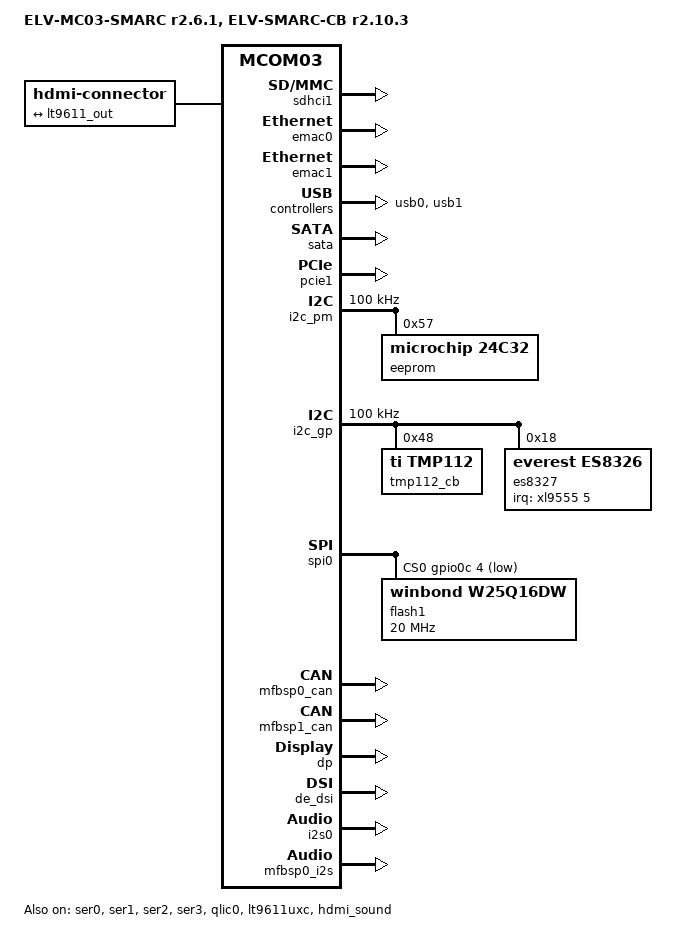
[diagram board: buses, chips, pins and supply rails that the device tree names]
// SPDX-License-Identifier: GPL-2.0+
/*
 * Copyright 2023 RnD Center "ELVEES", JSC
 */

/dts-v1/;

#include <dt-bindings/gpio/gpio.h>

#include "mcom03-elvmc03smarc-r2.6.1.dtsi"

/ {
	model = "ELV-MC03-SMARC r2.6.1, ELV-SMARC-CB r2.10.3";
	compatible = "elvees,elvmc03smarc-r2.6.1-elvsmarccb-r2.10.3",
		     "elvees,elvmc03smarc-elvsmarccb",
		     "elvees,elvsmarccb-r2.10.3",
		     "elvees,elvsmarccb",
		     "elvees,elvmc03smarc-r2.6.1",
		     "elvees,elvmc03smarc",
		     "elvees,mcom03";

	chosen {
		stdout-path = "serial0:115200n8";
	};

	hdmi_connector: hdmi-connector {
		compatible = "hdmi-connector";
		label = "hdmi";

		type = "a";

		port {
			hdmi_connector_in: endpoint {
				remote-endpoint = <&lt9611_out>;
			};
		};
	};

	elvsmarccb_asound {
		compatible = "simple-audio-card";
		simple-audio-card,name = "ELV-SMARC-CB analog audio";
		simple-audio-card,format = "i2s";
		simple-audio-card,bitclock-master = <&dailink1_master>;
		simple-audio-card,frame-master = <&dailink1_master>;
		simple-audio-card,continuous-clock;

		dailink1_master: simple-audio-card,cpu {
				sound-dai = <&mfbsp0_i2s>;
		};

		simple-audio-card,codec {
				sound-dai = <&es8327>;
		};
	};
};

&sdhci1 {
	status = "okay";

	/* Disable 1.8V support
	 * Disable SDR50, SDR104 and DDR50 support
	 */
	sdhci-caps-mask = <0x7 0x4000000>;
	sdhci-caps = <0x0 0x0>;

	/* SDIO_WP is not connected to SMARC connector XS1 */
	disable-wp;
};

&sdhci1_default {
	/* The default clock pad drive strength of 6 mA is insufficient
	 * for some ELV-SMARC-CBs resulting in unstable SDMMC performance
	 */
	clk {
		pins = "SDMMC1_CLK";
		drive-strength = <8>;
	};
};

/* Connects to XP12(RS-232) or XP13(RS-485) chosen by SA8 switch */
&ser0 {
	status = "okay";
};

/* Connects to debug USB Type-C port */
&ser1 {
	status = "okay";
};

/* Connects to XP6 RPi header */
&ser2 {
	status = "okay";
};

/* Connects to XP15 */
&ser3 {
	status = "okay";
};

&emac0 {
	status = "okay";
};

&emac1 {
	status = "okay";
};

&usb0 {
	status = "okay";
};

/* Connected to USB 3.0 hub */
&usb1 {
	status = "okay";
};

&sata {
	status = "okay";
};

&pcie1 {
	status = "okay";
};

&i2c_pm {
	status = "okay";
	// not tested to work on 400k
	clock-frequency = <100000>;

	eeprom@57 {
		compatible = "microchip,24c32", "atmel,24c32";
		reg = <0x57>;
	};
};

&i2c_gp {
	status = "okay";
	// not tested to work on 400k
	clock-frequency = <100000>;

	tmp112_cb: temperature-sensor@48 {
		compatible = "ti,tmp112";
		reg = <0x48>;
	};

	es8327: codec@18 {
		compatible = "everest,es8326";
		reg = <0x18>;

		interrupt-parent = <&xl9555>;
		interrupts = <5 IRQ_TYPE_EDGE_RISING>;

		clocks = <&audio_mclk>;
		clock-names = "mclk";
		#sound-dai-cells = <0>;
		everest,mic1-src = [22];
		everest,mic2-src = [44];
		everest,jack-pol = [0e];
		everest,interrupt-src = [08];
		everest,interrupt-clk = [45];
	};
};

&spi0 {
	status = "okay";
	num-cs = <2>;
	cs-gpios = <&gpio0c 4 GPIO_ACTIVE_LOW>, <&gpio0c 5 GPIO_ACTIVE_LOW>;

	flash1: w25q128jw@0 {
		#address-cells = <1>;
		#size-cells = <1>;
		compatible = "winbond,w25q16dw", "jedec,spi-nor";
		spi-max-frequency = <20000000>;
		reg = <0x0>;
	};
};

/* Connected to XP5 socket through CAN transceiver */
&mfbsp0_can {
	status = "okay";
};

/* Connected to XP5 socket through CAN transceiver */
&mfbsp1_can {
	status = "okay";
};

&qlic0 {
	status = "okay";
};

&dp {
	status = "okay";
};

&de_dsi {
	status = "okay";
};

&lt9611uxc {
	status = "okay";

	ports {
		port@2 {
			reg = <2>;
			lt9611_out: endpoint {
				remote-endpoint = <&hdmi_connector_in>;
			};
		};
	};
};

&hdmi_sound {
	status = "okay";
};

&i2s0 {
	status = "okay";
};

/* SMARC S38-42 (I2S0*) pins connected to mfbsp0 */
&mfbsp0_i2s {
	status = "okay";
};

&audio_mclk {
	status = "okay";
};
